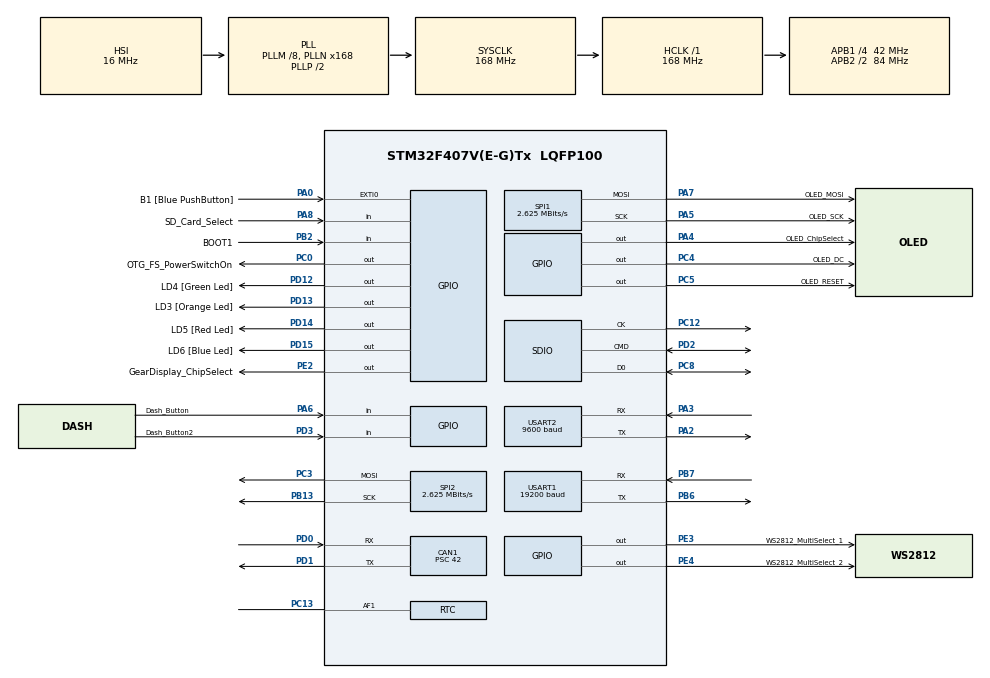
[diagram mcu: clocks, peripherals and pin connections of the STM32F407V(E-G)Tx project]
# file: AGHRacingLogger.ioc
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CAN1.BS1=CAN_BS1_16TQ
CAN1.BS2=CAN_BS2_8TQ
CAN1.CalculateTimeBit=25000
CAN1.CalculateTimeQuantum=1000.0
CAN1.Mode=CAN_MODE_NORMAL
CAN1.Prescaler=42
CAN1.SJW=CAN_SJW_3TQ
Dma.Request0=USART2_TX
Dma.Request1=SPI1_TX
Dma.Request2=SPI2_TX
Dma.Request3=USART1_RX
Dma.SPI1_TX.1.Direction=DMA_MEMORY_TO_PERIPH
Dma.SPI1_TX.1.FIFOMode=DMA_FIFOMODE_DISABLE
Dma.SPI1_TX.1.Instance=DMA2_Stream3
Dma.SPI1_TX.1.MemDataAlignment=DMA_MDATAALIGN_BYTE
Dma.SPI1_TX.1.MemInc=DMA_MINC_ENABLE
Dma.SPI1_TX.1.Mode=DMA_NORMAL
Dma.SPI1_TX.1.PeriphDataAlignment=DMA_PDATAALIGN_BYTE
Dma.SPI1_TX.1.PeriphInc=DMA_PINC_DISABLE
Dma.SPI1_TX.1.Priority=DMA_PRIORITY_LOW
Dma.SPI2_TX.2.Direction=DMA_MEMORY_TO_PERIPH
Dma.SPI2_TX.2.FIFOMode=DMA_FIFOMODE_DISABLE
Dma.SPI2_TX.2.Instance=DMA1_Stream4
Dma.SPI2_TX.2.MemDataAlignment=DMA_MDATAALIGN_BYTE
Dma.SPI2_TX.2.MemInc=DMA_MINC_ENABLE
Dma.SPI2_TX.2.Mode=DMA_NORMAL
Dma.SPI2_TX.2.PeriphDataAlignment=DMA_PDATAALIGN_BYTE
Dma.SPI2_TX.2.PeriphInc=DMA_PINC_DISABLE
Dma.SPI2_TX.2.Priority=DMA_PRIORITY_HIGH
Dma.USART1_RX.3.Direction=DMA_PERIPH_TO_MEMORY
Dma.USART1_RX.3.FIFOMode=DMA_FIFOMODE_DISABLE
Dma.USART1_RX.3.Instance=DMA2_Stream2
Dma.USART1_RX.3.MemDataAlignment=DMA_MDATAALIGN_BYTE
Dma.USART1_RX.3.MemInc=DMA_MINC_ENABLE
Dma.USART1_RX.3.Mode=DMA_CIRCULAR
Dma.USART1_RX.3.PeriphDataAlignment=DMA_PDATAALIGN_BYTE
Dma.USART1_RX.3.PeriphInc=DMA_PINC_DISABLE
Dma.USART1_RX.3.Priority=DMA_PRIORITY_HIGH
Dma.USART2_TX.0.Direction=DMA_MEMORY_TO_PERIPH
Dma.USART2_TX.0.FIFOMode=DMA_FIFOMODE_DISABLE
Dma.USART2_TX.0.Instance=DMA1_Stream6
Dma.USART2_TX.0.MemDataAlignment=DMA_MDATAALIGN_BYTE
Dma.USART2_TX.0.MemInc=DMA_MINC_ENABLE
Dma.USART2_TX.0.Mode=DMA_NORMAL
Dma.USART2_TX.0.PeriphDataAlignment=DMA_PDATAALIGN_BYTE
Dma.USART2_TX.0.PeriphInc=DMA_PINC_DISABLE
Dma.USART2_TX.0.Priority=DMA_PRIORITY_LOW
FATFS._USE_LFN=2
FREERTOS.INCLUDE_vTaskDelayUntil=1
FREERTOS.Tasks01=defaultTask,0,128,StartDefaultTask,Default
Mcu.Family=STM32F4
Mcu.Name=STM32F407V(E-G)Tx
Mcu.Package=LQFP100
NVIC.CAN1_RX0_IRQn=true\:5\:0\:false\:false\:true\:true
NVIC.CAN1_RX1_IRQn=true\:5\:0\:false\:false\:true\:true
NVIC.DMA1_Stream4_IRQn=true\:5\:0\:false\:false\:true\:true
NVIC.DMA1_Stream6_IRQn=true\:5\:0\:false\:false\:true\:true
NVIC.DMA2_Stream2_IRQn=true\:5\:0\:false\:false\:true\:true
NVIC.DMA2_Stream3_IRQn=true\:5\:0\:false\:false\:true\:true
NVIC.PriorityGroup=NVIC_PRIORITYGROUP_4
NVIC.SDIO_IRQn=true\:5\:0\:false\:false\:true\:true
NVIC.SPI1_IRQn=true\:5\:0\:false\:false\:true\:true
NVIC.TIM8_TRG_COM_TIM14_IRQn=true\:0\:0\:false\:false\:true\:false
NVIC.TimeBase=TIM8_TRG_COM_TIM14_IRQn
NVIC.TimeBaseIP=TIM14
NVIC.USART1_IRQn=true\:5\:0\:false\:false\:true\:true
NVIC.USART2_IRQn=true\:5\:0\:false\:false\:true\:true
PA0-WKUP.GPIO_Label=B1 [Blue PushButton]
PA0-WKUP.GPIO_ModeDefaultEXTI=GPIO_MODE_EVT_RISING
PA0-WKUP.GPIO_PuPd=GPIO_NOPULL
PA0-WKUP.Signal=GPXTI0
PA13.Mode=Trace_Asynchronous_SW
PA13.Signal=SYS_JTMS-SWDIO
PA14.Mode=Trace_Asynchronous_SW
PA14.Signal=SYS_JTCK-SWCLK
PA2.Mode=Asynchronous
PA2.Signal=USART2_TX
PA3.Mode=Asynchronous
PA3.Signal=USART2_RX
PA4.GPIO_Label=OLED_ChipSelect
PA4.GPIO_PuPd=GPIO_PULLDOWN
PA4.GPIO_Speed=GPIO_SPEED_FREQ_VERY_HIGH
PA4.PinState=GPIO_PIN_RESET
PA4.Signal=GPIO_Output
PA5.GPIO_Label=OLED_SCK
PA5.GPIO_PuPd=GPIO_PULLDOWN
PA5.Mode=TX_Only_Simplex_Unidirect_Master
PA5.Signal=SPI1_SCK
PA6.GPIO_Label=Dash_Button
PA6.GPIO_PuPd=GPIO_PULLUP
PA6.Signal=GPIO_Input
PA7.GPIO_Label=OLED_MOSI
PA7.GPIO_PuPd=GPIO_PULLUP
PA7.Mode=TX_Only_Simplex_Unidirect_Master
PA7.Signal=SPI1_MOSI
PA8.GPIO_Label=SD_Card_Select
PA8.Signal=GPIO_Input
PB13.GPIO_PuPd=GPIO_PULLDOWN
PB13.Mode=TX_Only_Simplex_Unidirect_Master
PB13.Signal=SPI2_SCK
PB2.GPIO_Label=BOOT1
PB2.GPIO_Mode=GPIO_MODE_INPUT
PB2.GPIO_PuPd=GPIO_NOPULL
PB2.Signal=GPIO_Input
PB3.Mode=Trace_Asynchronous_SW
PB3.Signal=SYS_JTDO-SWO
PB6.Mode=Asynchronous
PB6.Signal=USART1_TX
PB7.Mode=Asynchronous
PB7.Signal=USART1_RX
PC0.GPIO_Label=OTG_FS_PowerSwitchOn
PC0.GPIO_PuPd=GPIO_NOPULL
PC0.GPIO_Speed=GPIO_SPEED_FREQ_LOW
PC0.Signal=GPIO_Output
PC12.Mode=SD_1_bit
PC12.Signal=SDIO_CK
PC13-ANTI_TAMP.Mode=Timestamp enabled - Input Enabled to AF1
PC13-ANTI_TAMP.Signal=RTC_AF1
PC14-OSC32_IN.GPIO_Label=PC14-OSC32_IN
PC14-OSC32_IN.Signal=RCC_OSC32_IN
PC15-OSC32_OUT.GPIO_Label=PC15-OSC32_OUT
PC15-OSC32_OUT.Signal=RCC_OSC32_OUT
PC3.Mode=TX_Only_Simplex_Unidirect_Master
PC3.Signal=SPI2_MOSI
PC4.GPIO_Label=OLED_DC
PC4.GPIO_PuPd=GPIO_PULLDOWN
PC4.GPIO_Speed=GPIO_SPEED_FREQ_VERY_HIGH
PC4.Signal=GPIO_Output
PC5.GPIO_Label=OLED_RESET
PC5.GPIO_PuPd=GPIO_PULLDOWN
PC5.GPIO_Speed=GPIO_SPEED_FREQ_VERY_HIGH
PC5.PinState=GPIO_PIN_SET
PC5.Signal=GPIO_Output
PC8.Mode=SD_1_bit
PC8.Signal=SDIO_D0
PD0.Mode=Master
PD0.Signal=CAN1_RX
PD1.Mode=Master
PD1.Signal=CAN1_TX
PD12.GPIO_Label=LD4 [Green Led]
PD12.GPIO_PuPd=GPIO_NOPULL
PD12.GPIO_Speed=GPIO_SPEED_FREQ_LOW
PD12.Signal=GPIO_Output
PD13.GPIO_Label=LD3 [Orange Led]
PD13.GPIO_PuPd=GPIO_NOPULL
PD13.GPIO_Speed=GPIO_SPEED_FREQ_LOW
PD13.Signal=GPIO_Output
PD14.GPIO_Label=LD5 [Red Led]
PD14.GPIO_PuPd=GPIO_NOPULL
PD14.GPIO_Speed=GPIO_SPEED_FREQ_LOW
PD14.Signal=GPIO_Output
PD15.GPIO_Label=LD6 [Blue Led]
PD15.GPIO_PuPd=GPIO_NOPULL
PD15.GPIO_Speed=GPIO_SPEED_FREQ_LOW
PD15.Signal=GPIO_Output
PD2.Mode=SD_1_bit
PD2.Signal=SDIO_CMD
PD3.GPIO_Label=Dash_Button2
PD3.GPIO_PuPd=GPIO_PULLUP
PD3.Signal=GPIO_Input
PE2.GPIO_Label=GearDisplay_ChipSelect
PE2.GPIO_PuPd=GPIO_PULLDOWN
PE2.GPIO_Speed=GPIO_SPEED_FREQ_VERY_HIGH
PE2.Signal=GPIO_Output
PE3.GPIO_Label=WS2812_MultiSelect_1
PE3.GPIO_PuPd=GPIO_PULLDOWN
PE3.GPIO_Speed=GPIO_SPEED_FREQ_VERY_HIGH
PE3.Signal=GPIO_Output
PE4.GPIO_Label=WS2812_MultiSelect_2
PE4.Signal=GPIO_Output
PH0-OSC_IN.GPIO_Label=PH0-OSC_IN
PH0-OSC_IN.Signal=RCC_OSC_IN
PH1-OSC_OUT.GPIO_Label=PH1-OSC_OUT
PH1-OSC_OUT.Signal=RCC_OSC_OUT
ProjectManager.HeapSize=0x400
ProjectManager.StackSize=0x200
ProjectManager.TargetToolchain=SW4STM32
RCC.48MHZClocksFreq_Value=48000000
RCC.AHBFreq_Value=168000000
RCC.APB1CLKDivider=RCC_HCLK_DIV4
RCC.APB1Freq_Value=42000000
RCC.APB1TimFreq_Value=84000000
RCC.APB2CLKDivider=RCC_HCLK_DIV2
RCC.APB2Freq_Value=84000000
RCC.APB2TimFreq_Value=168000000
RCC.CortexFreq_Value=168000000
RCC.HCLKFreq_Value=168000000
RCC.HSE_VALUE=8000000
RCC.HSI_VALUE=16000000
RCC.LSE_VALUE=32768
RCC.PLLM=8
RCC.PLLN=168
RCC.PLLQ=7
RCC.SYSCLKFreq_VALUE=168000000
RCC.SYSCLKSource=RCC_SYSCLKSOURCE_PLLCLK
RCC.VCOOutputFreq_Value=336000000
RCC.VDD_VALUE=3.3
SDIO.BusWide=SDIO_BUS_WIDE_1B
SDIO.ClockDiv=50
SPI1.BaudRatePrescaler=SPI_BAUDRATEPRESCALER_32
SPI1.CalculateBaudRate=2.625 MBits/s
SPI1.Mode=SPI_MODE_MASTER
SPI2.BaudRatePrescaler=SPI_BAUDRATEPRESCALER_16
SPI2.CLKPhase=SPI_PHASE_1EDGE
SPI2.CalculateBaudRate=2.625 MBits/s
SPI2.Mode=SPI_MODE_MASTER
TIM6.Period=0xFFFF
TIM6.Prescaler=83
TIM6.TIM_MasterOutputTrigger=TIM_TRGO_ENABLE
USART1.BaudRate=19200
USART2.BaudRate=9600
VP_FATFS_VS_SDIO.Mode=SDIO
VP_FREERTOS_VS_ENABLE.Mode=Enabled
VP_SYS_VS_tim14.Mode=TIM14
VP_TIM6_VS_ClockSourceINT.Mode=Enable_Timer
board=STM32F4DISCOVERY

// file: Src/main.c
/**
  ******************************************************************************
  * File Name          : main.c
  * Description        : Main program body
  ******************************************************************************
  *
  * COPYRIGHT(c) 2016 STMicroelectronics
  *
  * Redistribution and use in source and binary forms, with or without modification,
  * are permitted provided that the following conditions are met:
  *   1. Redistributions of source code must retain the above copyright notice,
  *      this list of conditions and the following disclaimer.
  *   2. Redistributions in binary form must reproduce the above copyright notice,
  *      this list of conditions and the following disclaimer in the documentation
  *      and/or other materials provided with the distribution.
  *   3. Neither the name of STMicroelectronics nor the names of its contributors
  *      may be used to endorse or promote products derived from this software
  *      without specific prior written permission.
  *
  * THIS SOFTWARE IS PROVIDED BY THE COPYRIGHT HOLDERS AND CONTRIBUTORS "AS IS"
  * AND ANY EXPRESS OR IMPLIED WARRANTIES, INCLUDING, BUT NOT LIMITED TO, THE
  * IMPLIED WARRANTIES OF MERCHANTABILITY AND FITNESS FOR A PARTICULAR PURPOSE ARE
  * DISCLAIMED. IN NO EVENT SHALL THE COPYRIGHT HOLDER OR CONTRIBUTORS BE LIABLE
  * FOR ANY DIRECT, INDIRECT, INCIDENTAL, SPECIAL, EXEMPLARY, OR CONSEQUENTIAL
  * DAMAGES (INCLUDING, BUT NOT LIMITED TO, PROCUREMENT OF SUBSTITUTE GOODS OR
  * SERVICES; LOSS OF USE, DATA, OR PROFITS; OR BUSINESS INTERRUPTION) HOWEVER
  * CAUSED AND ON ANY THEORY OF LIABILITY, WHETHER IN CONTRACT, STRICT LIABILITY,
  * OR TORT (INCLUDING NEGLIGENCE OR OTHERWISE) ARISING IN ANY WAY OUT OF THE USE
  * OF THIS SOFTWARE, EVEN IF ADVISED OF THE POSSIBILITY OF SUCH DAMAGE.
  *
  ******************************************************************************
  */
#include "stm32f4xx_hal.h"
#include "cmsis_os.h"
#include "fatfs.h"

/* USER CODE BEGIN Includes */

#include <string.h>
#include "mxconstants.h"
#include "current_data_provider.h"
#include "data_snapshot_maker.h"
#include "ecumaster.h"
#include "sd_card_saver.h"
#include "uart_debug_wrapper.h"
#include "stm32f407xx.h"
#include "freertos.h"
#include "dashboard.h"
#include "gear_display.h"
#include "delay_timer6.h"
#include "ws2812_driver.h"
#include "can_sensors.h"
#include "buttons.h"

/* USER CODE END Includes */

CAN_HandleTypeDef hcan1;

RTC_HandleTypeDef hrtc;

SD_HandleTypeDef hsd;
HAL_SD_CardInfoTypedef SDCardInfo;

SPI_HandleTypeDef hspi1;
SPI_HandleTypeDef hspi2;
DMA_HandleTypeDef hdma_spi1_tx;
DMA_HandleTypeDef hdma_spi2_tx;

TIM_HandleTypeDef htim6;

UART_HandleTypeDef huart1;
UART_HandleTypeDef huart2;
DMA_HandleTypeDef hdma_usart1_rx;
DMA_HandleTypeDef hdma_usart2_tx;

osThreadId defaultTaskHandle;

/* USER CODE BEGIN PV */
/* Private variables ---------------------------------------------------------*/

TaskHandle_t saveActualDataTaskHandle;
TaskHandle_t saveActualBytesFromECUTaskHandle;
TaskHandle_t saveActualBytesFromCanSensorsTaskHandle;
TaskHandle_t ledBlinkingTaskHandle;
TaskHandle_t SDCardSaverTaskHandle;
TaskHandle_t DashboardTaskHandle;
TaskHandle_t ledSteeringWheelTaskHandle;

osMutexId currentDataMutexHandle;

/* USER CODE END PV */

void SystemClock_Config(void);
void Error_Handler(void);
static void MX_GPIO_Init(void);
static void MX_DMA_Init(void);
static void MX_CAN1_Init(void);
static void MX_RTC_Init(void);
static void MX_SDIO_SD_Init(void);
static void MX_USART1_UART_Init(void);
static void MX_USART2_UART_Init(void);
static void MX_SPI1_Init(void);
static void MX_TIM6_Init(void);
static void MX_SPI2_Init(void);
void StartDefaultTask(void const * argument);

/* USER CODE BEGIN PFP */
/* Private function prototypes -----------------------------------------------*/

void StartMakeDataSnaphotTask(void const * argument);
void StartSaveActualBytesFromECUTask(void const * argument);
void StartSaveActualBytesFromCanSensorsTask(void const * argument);
void StartLedBlinkingTask(void const * argument);
void StartSDCardSaverTask(void const * argument);
void StartDashboardTask(void const * argument);
void StartLEDSteeringWheelTask(void const * argument);

/* USER CODE END PFP */

int main(void)
{

  /* MCU Configuration----------------------------------------------------------*/

  /* Reset of all peripherals, Initializes the Flash interface and the Systick. */
  HAL_Init();

  /* Configure the system clock */
  SystemClock_Config();

  /* Initialize all configured peripherals */
  MX_GPIO_Init();
  MX_DMA_Init();
  MX_CAN1_Init();
  MX_RTC_Init();
  MX_SDIO_SD_Init();
  MX_USART1_UART_Init();
  MX_USART2_UART_Init();
  MX_SPI1_Init();
  MX_TIM6_Init();
  MX_SPI2_Init();

  /* USER CODE BEGIN 2 */

  DataTypes_initDefaults();

  /* USER CODE END 2 */

  /* USER CODE BEGIN RTOS_MUTEX */
  /* add mutexes, ... */

  osMutexDef(currentDataMutex);
  currentDataMutexHandle = osMutexCreate(osMutex(currentDataMutex));

  /* USER CODE END RTOS_MUTEX */

  /* Create the thread(s) */
  /* definition and creation of defaultTask */
  osThreadDef(defaultTask, StartDefaultTask, osPriorityNormal, 0, 128);
  defaultTaskHandle = osThreadCreate(osThread(defaultTask), NULL);

  /* USER CODE BEGIN RTOS_THREADS */
  /* add threads, ... */

  //osThreadDef(saveActualDataTask, StartMakeDataSnaphotTask, osPriorityHigh, 0, 128);
  //saveActualDataTaskHandle = osThreadCreate(osThread(saveActualDataTask), NULL);

  osThreadDef(saveActualBytesFromECUTask, StartSaveActualBytesFromECUTask, osPriorityHigh, 0, 128);
  saveActualBytesFromECUTaskHandle = osThreadCreate(osThread(saveActualBytesFromECUTask), NULL);

  osThreadDef(saveActualBytesFromCanSensorsTask, StartSaveActualBytesFromCanSensorsTask, osPriorityHigh, 0, 1280);
  saveActualBytesFromCanSensorsTaskHandle = osThreadCreate(osThread(saveActualBytesFromCanSensorsTask), NULL);

//  osThreadDef(SDCardSaverTask, StartSDCardSaverTask, osPriorityHigh, 0, 1280);
//  SDCardSaverTaskHandle = osThreadCreate(osThread(SDCardSaverTask), NULL);

  osThreadDef(DashboardTask, StartDashboardTask, osPriorityHigh, 0, 1280);
  DashboardTaskHandle = osThreadCreate(osThread(DashboardTask), NULL);

  osThreadDef(LEDSteeringWheelTask, StartLEDSteeringWheelTask, osPriorityHigh, 0, 128);
  ledSteeringWheelTaskHandle = osThreadCreate(osThread(LEDSteeringWheelTask), NULL);

  osThreadDef(ledBlinkingTask, StartLedBlinkingTask, osPriorityNormal, 0, 128);
  ledBlinkingTaskHandle = osThreadCreate(osThread(ledBlinkingTask), NULL);

  /* USER CODE END RTOS_THREADS */

  /* Start scheduler */
  osKernelStart();

  /* We should never get here as control is now taken by the scheduler */

  /* Infinite loop */
  while (1)
  {

  }

}

/** System Clock Configuration
*/
void SystemClock_Config(void)
{

  RCC_OscInitTypeDef RCC_OscInitStruct;
  RCC_ClkInitTypeDef RCC_ClkInitStruct;
  RCC_PeriphCLKInitTypeDef PeriphClkInitStruct;

  __HAL_RCC_PWR_CLK_ENABLE();

  __HAL_PWR_VOLTAGESCALING_CONFIG(PWR_REGULATOR_VOLTAGE_SCALE1);

  RCC_OscInitStruct.OscillatorType = RCC_OSCILLATORTYPE_HSI|RCC_OSCILLATORTYPE_LSI;
  RCC_OscInitStruct.HSIState = RCC_HSI_ON;
  RCC_OscInitStruct.HSICalibrationValue = 16;
  RCC_OscInitStruct.LSIState = RCC_LSI_ON;
  RCC_OscInitStruct.PLL.PLLState = RCC_PLL_ON;
  RCC_OscInitStruct.PLL.PLLSource = RCC_PLLSOURCE_HSI;
  RCC_OscInitStruct.PLL.PLLM = 8;
  RCC_OscInitStruct.PLL.PLLN = 168;
  RCC_OscInitStruct.PLL.PLLP = RCC_PLLP_DIV2;
  RCC_OscInitStruct.PLL.PLLQ = 7;
  if (HAL_RCC_OscConfig(&RCC_OscInitStruct) != HAL_OK)
  {
    Error_Handler();
  }

  RCC_ClkInitStruct.ClockType = RCC_CLOCKTYPE_HCLK|RCC_CLOCKTYPE_SYSCLK
                              |RCC_CLOCKTYPE_PCLK1|RCC_CLOCKTYPE_PCLK2;
  RCC_ClkInitStruct.SYSCLKSource = RCC_SYSCLKSOURCE_PLLCLK;
  RCC_ClkInitStruct.AHBCLKDivider = RCC_SYSCLK_DIV1;
  RCC_ClkInitStruct.APB1CLKDivider = RCC_HCLK_DIV4;
  RCC_ClkInitStruct.APB2CLKDivider = RCC_HCLK_DIV2;
  if (HAL_RCC_ClockConfig(&RCC_ClkInitStruct, FLASH_LATENCY_5) != HAL_OK)
  {
    Error_Handler();
  }

  PeriphClkInitStruct.PeriphClockSelection = RCC_PERIPHCLK_RTC;
  PeriphClkInitStruct.RTCClockSelection = RCC_RTCCLKSOURCE_LSI;
  if (HAL_RCCEx_PeriphCLKConfig(&PeriphClkInitStruct) != HAL_OK)
  {
    Error_Handler();
  }

  HAL_SYSTICK_Config(HAL_RCC_GetHCLKFreq()/1000);

  HAL_SYSTICK_CLKSourceConfig(SYSTICK_CLKSOURCE_HCLK);

  /* SysTick_IRQn interrupt configuration */
  HAL_NVIC_SetPriority(SysTick_IRQn, 15, 0);
}

/* CAN1 init function */
static void MX_CAN1_Init(void)
{

  hcan1.Instance = CAN1;
  hcan1.Init.Prescaler = 42;
  hcan1.Init.Mode = CAN_MODE_NORMAL;
  hcan1.Init.SJW = CAN_SJW_3TQ;
  hcan1.Init.BS1 = CAN_BS1_16TQ;
  hcan1.Init.BS2 = CAN_BS2_8TQ;
  hcan1.Init.TTCM = DISABLE;
  hcan1.Init.ABOM = DISABLE;
  hcan1.Init.AWUM = DISABLE;
  hcan1.Init.NART = DISABLE;
  hcan1.Init.RFLM = DISABLE;
  hcan1.Init.TXFP = DISABLE;
  if (HAL_CAN_Init(&hcan1) != HAL_OK)
  {
    Error_Handler();
  }

}

/* RTC init function */
static void MX_RTC_Init(void)
{

  RTC_TimeTypeDef sTime;
  RTC_DateTypeDef sDate;

    /**Initialize RTC and set the Time and Date
    */
  hrtc.Instance = RTC;
  hrtc.Init.HourFormat = RTC_HOURFORMAT_24;
  hrtc.Init.AsynchPrediv = 127;
  hrtc.Init.SynchPrediv = 255;
  hrtc.Init.OutPut = RTC_OUTPUT_DISABLE;
  hrtc.Init.OutPutPolarity = RTC_OUTPUT_POLARITY_HIGH;
  hrtc.Init.OutPutType = RTC_OUTPUT_TYPE_OPENDRAIN;
  if (HAL_RTC_Init(&hrtc) != HAL_OK)
  {
    Error_Handler();
  }

  sTime.Hours = 0x0;
  sTime.Minutes = 0x0;
  sTime.Seconds = 0x0;
  sTime.DayLightSaving = RTC_DAYLIGHTSAVING_NONE;
  sTime.StoreOperation = RTC_STOREOPERATION_RESET;
  if (HAL_RTC_SetTime(&hrtc, &sTime, RTC_FORMAT_BCD) != HAL_OK)
  {
    Error_Handler();
  }

  sDate.WeekDay = RTC_WEEKDAY_MONDAY;
  sDate.Month = RTC_MONTH_JANUARY;
  sDate.Date = 0x1;
  sDate.Year = 0x0;

  if (HAL_RTC_SetDate(&hrtc, &sDate, RTC_FORMAT_BCD) != HAL_OK)
  {
    Error_Handler();
  }

    /**Enable the TimeStamp
    */
  if (HAL_RTCEx_SetTimeStamp(&hrtc, RTC_TIMESTAMPEDGE_RISING, RTC_TIMESTAMPPIN_DEFAULT) != HAL_OK)
  {
    Error_Handler();
  }

}

/* SDIO init function */
static void MX_SDIO_SD_Init(void)
{

  hsd.Instance = SDIO;
  hsd.Init.ClockEdge = SDIO_CLOCK_EDGE_RISING;
  hsd.Init.ClockBypass = SDIO_CLOCK_BYPASS_DISABLE;
  hsd.Init.ClockPowerSave = SDIO_CLOCK_POWER_SAVE_DISABLE;
  hsd.Init.BusWide = SDIO_BUS_WIDE_1B;
  hsd.Init.HardwareFlowControl = SDIO_HARDWARE_FLOW_CONTROL_DISABLE;
  hsd.Init.ClockDiv = 50;

}

/* SPI1 init function */
static void MX_SPI1_Init(void)
{

  hspi1.Instance = SPI1;
  hspi1.Init.Mode = SPI_MODE_MASTER;
  hspi1.Init.Direction = SPI_DIRECTION_2LINES;
  hspi1.Init.DataSize = SPI_DATASIZE_8BIT;
  hspi1.Init.CLKPolarity = SPI_POLARITY_LOW;
  hspi1.Init.CLKPhase = SPI_PHASE_1EDGE;
  hspi1.Init.NSS = SPI_NSS_SOFT;
  hspi1.Init.BaudRatePrescaler = SPI_BAUDRATEPRESCALER_32;
  hspi1.Init.FirstBit = SPI_FIRSTBIT_MSB;
  hspi1.Init.TIMode = SPI_TIMODE_DISABLE;
  hspi1.Init.CRCCalculation = SPI_CRCCALCULATION_DISABLE;
  hspi1.Init.CRCPolynomial = 10;
  if (HAL_SPI_Init(&hspi1) != HAL_OK)
  {
    Error_Handler();
  }

}

/* SPI2 init function */
static void MX_SPI2_Init(void)
{

  hspi2.Instance = SPI2;
  hspi2.Init.Mode = SPI_MODE_MASTER;
  hspi2.Init.Direction = SPI_DIRECTION_2LINES;
  hspi2.Init.DataSize = SPI_DATASIZE_8BIT;
  hspi2.Init.CLKPolarity = SPI_POLARITY_LOW;
  hspi2.Init.CLKPhase = SPI_PHASE_1EDGE;
  hspi2.Init.NSS = SPI_NSS_SOFT;
  hspi2.Init.BaudRatePrescaler = SPI_BAUDRATEPRESCALER_16;
  hspi2.Init.FirstBit = SPI_FIRSTBIT_MSB;
  hspi2.Init.TIMode = SPI_TIMODE_DISABLE;
  hspi2.Init.CRCCalculation = SPI_CRCCALCULATION_DISABLE;
  hspi2.Init.CRCPolynomial = 10;
  if (HAL_SPI_Init(&hspi2) != HAL_OK)
  {
    Error_Handler();
  }

}

/* TIM6 init function */
static void MX_TIM6_Init(void)
{

  TIM_MasterConfigTypeDef sMasterConfig;

  htim6.Instance = TIM6;
  htim6.Init.Prescaler = 83;
  htim6.Init.CounterMode = TIM_COUNTERMODE_UP;
  htim6.Init.Period = 0xFFFF;
  if (HAL_TIM_Base_Init(&htim6) != HAL_OK)
  {
    Error_Handler();
  }

  sMasterConfig.MasterOutputTrigger = TIM_TRGO_ENABLE;
  sMasterConfig.MasterSlaveMode = TIM_MASTERSLAVEMODE_DISABLE;
  if (HAL_TIMEx_MasterConfigSynchronization(&htim6, &sMasterConfig) != HAL_OK)
  {
    Error_Handler();
  }

}

/* USART1 init function */
static void MX_USART1_UART_Init(void)
{

  huart1.Instance = USART1;
  huart1.Init.BaudRate = 19200;
  huart1.Init.WordLength = UART_WORDLENGTH_8B;
  huart1.Init.StopBits = UART_STOPBITS_1;
  huart1.Init.Parity = UART_PARITY_NONE;
  huart1.Init.Mode = UART_MODE_TX_RX;
  huart1.Init.HwFlowCtl = UART_HWCONTROL_NONE;
  huart1.Init.OverSampling = UART_OVERSAMPLING_16;
  if (HAL_UART_Init(&huart1) != HAL_OK)
  {
    Error_Handler();
  }

}

/* USART2 init function */
static void MX_USART2_UART_Init(void)
{

  huart2.Instance = USART2;
  huart2.Init.BaudRate = 9600;
  huart2.Init.WordLength = UART_WORDLENGTH_8B;
  huart2.Init.StopBits = UART_STOPBITS_1;
  huart2.Init.Parity = UART_PARITY_NONE;
  huart2.Init.Mode = UART_MODE_TX_RX;
  huart2.Init.HwFlowCtl = UART_HWCONTROL_NONE;
  huart2.Init.OverSampling = UART_OVERSAMPLING_16;
  if (HAL_UART_Init(&huart2) != HAL_OK)
  {
    Error_Handler();
  }

}

static void MX_DMA_Init(void)
{
  /* DMA controller clock enable */
  __HAL_RCC_DMA1_CLK_ENABLE();
  __HAL_RCC_DMA2_CLK_ENABLE();

  /* DMA interrupt init */
  /* DMA1_Stream4_IRQn interrupt configuration */
  HAL_NVIC_SetPriority(DMA1_Stream4_IRQn, 5, 0);
  HAL_NVIC_EnableIRQ(DMA1_Stream4_IRQn);
  /* DMA1_Stream6_IRQn interrupt configuration */
  HAL_NVIC_SetPriority(DMA1_Stream6_IRQn, 5, 0);
  HAL_NVIC_EnableIRQ(DMA1_Stream6_IRQn);
  /* DMA2_Stream2_IRQn interrupt configuration */
  HAL_NVIC_SetPriority(DMA2_Stream2_IRQn, 5, 0);
  HAL_NVIC_EnableIRQ(DMA2_Stream2_IRQn);
  /* DMA2_Stream3_IRQn interrupt configuration */
  HAL_NVIC_SetPriority(DMA2_Stream3_IRQn, 5, 0);
  HAL_NVIC_EnableIRQ(DMA2_Stream3_IRQn);

}

/** Configure pins as
        * Analog
        * Input
        * Output
        * EVENT_OUT
        * EXTI
*/
static void MX_GPIO_Init(void)
{

  GPIO_InitTypeDef GPIO_InitStruct;

  /* GPIO Ports Clock Enable */
  __HAL_RCC_GPIOE_CLK_ENABLE();
  __HAL_RCC_GPIOC_CLK_ENABLE();
  __HAL_RCC_GPIOH_CLK_ENABLE();
  __HAL_RCC_GPIOA_CLK_ENABLE();
  __HAL_RCC_GPIOB_CLK_ENABLE();
  __HAL_RCC_GPIOD_CLK_ENABLE();

  /*Configure GPIO pin Output Level */
  HAL_GPIO_WritePin(GPIOE, GearDisplay_ChipSelect_Pin|WS2812_MultiSelect_1_Pin|WS2812_MultiSelect_2_Pin, GPIO_PIN_RESET);

  /*Configure GPIO pin Output Level */
  HAL_GPIO_WritePin(GPIOC, OTG_FS_PowerSwitchOn_Pin|OLED_DC_Pin, GPIO_PIN_RESET);

  /*Configure GPIO pin Output Level */
  HAL_GPIO_WritePin(OLED_ChipSelect_GPIO_Port, OLED_ChipSelect_Pin, GPIO_PIN_RESET);

  /*Configure GPIO pin Output Level */
  HAL_GPIO_WritePin(OLED_RESET_GPIO_Port, OLED_RESET_Pin, GPIO_PIN_SET);

  /*Configure GPIO pin Output Level */
  HAL_GPIO_WritePin(GPIOD, LD4_Pin|LD3_Pin|LD5_Pin|LD6_Pin, GPIO_PIN_RESET);

  /*Configure GPIO pins : GearDisplay_ChipSelect_Pin WS2812_MultiSelect_1_Pin */
  GPIO_InitStruct.Pin = GearDisplay_ChipSelect_Pin|WS2812_MultiSelect_1_Pin;
  GPIO_InitStruct.Mode = GPIO_MODE_OUTPUT_PP;
  GPIO_InitStruct.Pull = GPIO_PULLDOWN;
  GPIO_InitStruct.Speed = GPIO_SPEED_FREQ_VERY_HIGH;
  HAL_GPIO_Init(GPIOE, &GPIO_InitStruct);

  /*Configure GPIO pin : WS2812_MultiSelect_2_Pin */
  GPIO_InitStruct.Pin = WS2812_MultiSelect_2_Pin;
  GPIO_InitStruct.Mode = GPIO_MODE_OUTPUT_PP;
  GPIO_InitStruct.Pull = GPIO_NOPULL;
  GPIO_InitStruct.Speed = GPIO_SPEED_FREQ_LOW;
  HAL_GPIO_Init(WS2812_MultiSelect_2_GPIO_Port, &GPIO_InitStruct);

  /*Configure GPIO pin : OTG_FS_PowerSwitchOn_Pin */
  GPIO_InitStruct.Pin = OTG_FS_PowerSwitchOn_Pin;
  GPIO_InitStruct.Mode = GPIO_MODE_OUTPUT_PP;
  GPIO_InitStruct.Pull = GPIO_NOPULL;
  GPIO_InitStruct.Speed = GPIO_SPEED_FREQ_LOW;
  HAL_GPIO_Init(OTG_FS_PowerSwitchOn_GPIO_Port, &GPIO_InitStruct);

  /*Configure GPIO pin : B1_Pin */
  GPIO_InitStruct.Pin = B1_Pin;
  GPIO_InitStruct.Mode = GPIO_MODE_EVT_RISING;
  GPIO_InitStruct.Pull = GPIO_NOPULL;
  HAL_GPIO_Init(B1_GPIO_Port, &GPIO_InitStruct);

  /*Configure GPIO pin : OLED_ChipSelect_Pin */
  GPIO_InitStruct.Pin = OLED_ChipSelect_Pin;
  GPIO_InitStruct.Mode = GPIO_MODE_OUTPUT_PP;
  GPIO_InitStruct.Pull = GPIO_PULLDOWN;
  GPIO_InitStruct.Speed = GPIO_SPEED_FREQ_VERY_HIGH;
  HAL_GPIO_Init(OLED_ChipSelect_GPIO_Port, &GPIO_InitStruct);

  /*Configure GPIO pin : Dash_Button_Pin */
  GPIO_InitStruct.Pin = Dash_Button_Pin;
  GPIO_InitStruct.Mode = GPIO_MODE_INPUT;
  GPIO_InitStruct.Pull = GPIO_PULLUP;
  HAL_GPIO_Init(Dash_Button_GPIO_Port, &GPIO_InitStruct);

  /*Configure GPIO pins : OLED_DC_Pin OLED_RESET_Pin */
  GPIO_InitStruct.Pin = OLED_DC_Pin|OLED_RESET_Pin;
  GPIO_InitStruct.Mode = GPIO_MODE_OUTPUT_PP;
  GPIO_InitStruct.Pull = GPIO_PULLDOWN;
  GPIO_InitStruct.Speed = GPIO_SPEED_FREQ_VERY_HIGH;
  HAL_GPIO_Init(GPIOC, &GPIO_InitStruct);

  /*Configure GPIO pin : BOOT1_Pin */
  GPIO_InitStruct.Pin = BOOT1_Pin;
  GPIO_InitStruct.Mode = GPIO_MODE_INPUT;
  GPIO_InitStruct.Pull = GPIO_NOPULL;
  HAL_GPIO_Init(BOOT1_GPIO_Port, &GPIO_InitStruct);

  /*Configure GPIO pins : LD4_Pin LD3_Pin LD5_Pin LD6_Pin */
  GPIO_InitStruct.Pin = LD4_Pin|LD3_Pin|LD5_Pin|LD6_Pin;
  GPIO_InitStruct.Mode = GPIO_MODE_OUTPUT_PP;
  GPIO_InitStruct.Pull = GPIO_NOPULL;
  GPIO_InitStruct.Speed = GPIO_SPEED_FREQ_LOW;
  HAL_GPIO_Init(GPIOD, &GPIO_InitStruct);

  /*Configure GPIO pin : SD_Card_Select_Pin */
  GPIO_InitStruct.Pin = SD_Card_Select_Pin;
  GPIO_InitStruct.Mode = GPIO_MODE_INPUT;
  GPIO_InitStruct.Pull = GPIO_NOPULL;
  HAL_GPIO_Init(SD_Card_Select_GPIO_Port, &GPIO_InitStruct);

  /*Configure GPIO pin : Dash_Button2_Pin */
  GPIO_InitStruct.Pin = Dash_Button2_Pin;
  GPIO_InitStruct.Mode = GPIO_MODE_INPUT;
  GPIO_InitStruct.Pull = GPIO_PULLUP;
  HAL_GPIO_Init(Dash_Button2_GPIO_Port, &GPIO_InitStruct);

}

/* USER CODE BEGIN 4 */

void StartMakeDataSnaphotTask(void const * argument){

	TickType_t xLastWakeTime = osKernelSysTick();

	while (1){
		SnapshotMaker_makeSnapshot();
		osDelayUntil((uint32_t*) &xLastWakeTime, 100);
	}

}

void StartSaveActualBytesFromECUTask(void const * argument){

	ECU_init();
	ECU_receiveData();

	TickType_t xLastWakeTime = osKernelSysTick();

	while (1){
		ECU_saveCurrentData(argument);
		osDelayUntil((uint32_t*) &xLastWakeTime, 4);
	}

}

void StartSaveActualBytesFromCanSensorsTask(void const * argument){

	canSensors_ReceiveDataFromSensors_init(&hcan1);
	canSensors_ReceiveDataFromSensors_Start();

	TickType_t xLastWakeTime = osKernelSysTick();

	while (1){
		canSensors_saveCurrentData();
		osDelayUntil((uint32_t*) &xLastWakeTime, 4);
	}

}

void StartLedBlinkingTask(void const * argument){

	while (1){
	    HAL_GPIO_TogglePin(LD5_GPIO_Port, LD5_Pin);
	    osDelay(200);
	}

}

typedef enum {
	SDState_Begin, SDState_InitFail, SDState_Saving, SDState_SavingFail, SDState_Stop, SDState_StopFail
} SD_Thread_State;

SD_Thread_State SDThreadState = SDState_Begin;

void StartSDCardSaverTask(void const * argument){

	TickType_t xLastWakeTime = osKernelSysTick();
	FRESULT result;

	while (1){
		switch (SDThreadState){
		case SDState_Begin:
		case SDState_InitFail:
			result = SDCardSaver_init();
			if (result==FR_OK) {
				SDThreadState = SDState_Stop;
			} else {
				SDThreadState = SDState_InitFail;
			}
			break;
		case SDState_Stop:
		case SDState_SavingFail:
			if (SDCardSaver_shouldRecordData()){
				result = SDCardSaver_initNewFile();
				if (result==FR_OK){
					SDThreadState = SDState_Saving;
				} else {
					SDThreadState = SDState_SavingFail;
				}
			}
			break;
		case SDState_Saving:
			if (SDCardSaver_shouldRecordData()){
				result = SDCardSaver_saveAllUnsavedData();
				if (result!=FR_OK){
					SDThreadState = SDState_SavingFail;
				}
			} else {
				result = SDCardSaver_stopSaving();
				if (result==FR_OK){
					SDThreadState = SDState_Stop;
				}
			}
			break;
		case SDState_StopFail:
			result = SDCardSaver_stopSaving();
			if (result==FR_OK){
				SDThreadState = SDState_Stop;
			}
			break;
		}

		osDelayUntil((uint32_t*) &xLastWakeTime, 20);
	}

}

uint32_t lastDashboardRefreshCouter;

void StartDashboardTask(void const * argument){

	dash_init();
	gearDisplay_init();

	TickType_t xLastWakeTime = osKernelSysTick();

	while(1){
		if (buttons_updateButtonValue()){
			dash_nextDisplayingValueChannelIndexNotification();
		}
		dash_displayCurrentData();
		dash_displayActualGear();
		osDelayUntil((uint32_t*) &xLastWakeTime, 50);
	}
}

void StartLEDSteeringWheelTask(void const * argument){

	ws2812_init();

	TickType_t xLastWakeTime = osKernelSysTick();

	while(1){

		ws2812_displayDrivingWheelLEDs();
		ws2812_displayDashboardLEDs();

		osDelayUntil((uint32_t*) &xLastWakeTime, 50);
	}
}

/* USER CODE END 4 */

/* StartDefaultTask function */
void StartDefaultTask(void const * argument)
{
  /* init code for FATFS */
  MX_FATFS_Init();

  for(;;)
  {
    osDelay(1);
  }
}

void HAL_TIM_PeriodElapsedCallback(TIM_HandleTypeDef *htim)
{
  if (htim->Instance == TIM14) {
    HAL_IncTick();
  }
}

void Error_Handler(void)
{
  /* USER CODE BEGIN Error_Handler */
  /* User can add his own implementation to report the HAL error return state */
	LOG_error("HAL Error");
  /* USER CODE END Error_Handler */
}

/************************ (C) COPYRIGHT STMicroelectronics *****END OF FILE****/
